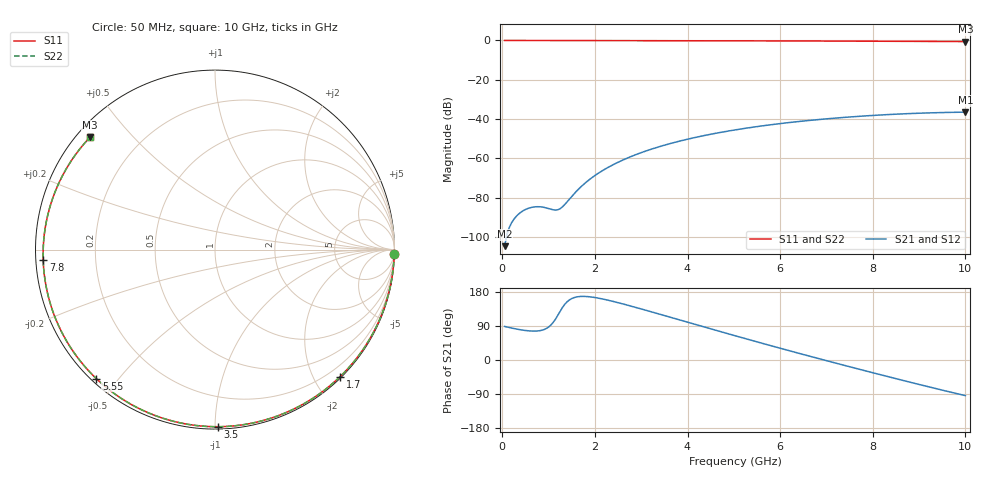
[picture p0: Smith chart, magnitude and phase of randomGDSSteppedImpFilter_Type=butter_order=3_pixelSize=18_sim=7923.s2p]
! freq	dB(S11)	phase(S11)	dB(S12)	phase(S12)
!  dB(S21)	phase(S21)	dB(S22)	phase(S22)
!S-par simulation data
#  GHz  S  DB  R 50
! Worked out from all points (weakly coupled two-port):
!   200 points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, 50 MHz to 10 GHz, reference 50 ohm
!   highest |S21| = -36.45 dB at 10 GHz (marker M1); lowest = -104.6 dB at 50 MHz (marker M2)
!   lowest |S11| = -0.6 dB at 10 GHz (marker M3), VSWR 30.53, Z = 1.88 + j19.1 ohm
!   |S11| at or under -10 dB: nowhere
!   |S22| runs from -0.6 to 0.0 dB; largest |S21 - S12| = 0
!   S11 on the Smith chart (normalised r, x): 50 MHz: 2, -87; 1.7 GHz: 0.02, -2.38; 3.5 GHz: 0.01, -1.02; 5.55 GHz: 0.01, -0.44; 7.8 GHz: 0.02, -0.03; 10 GHz: 0.04, +0.38
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0.05  -0.01 -1.3  -104.57 88.5  -104.57 88.5  -0.01 -1.3
0.4  -0.02 -10.9  -87.34 79.6  -87.34 79.6  -0.02 -10.9
0.75  -0.03 -20.4  -84.52 76.5  -84.52 76.5  -0.03 -20.4
1.45  -0.05 -39.0  -80.62 158.5  -80.62 158.5  -0.05 -39.0
1.5  -0.05 -40.3  -79.26 162.1  -79.26 162.1  -0.05 -40.3
1.7  -0.06 -45.5  -74.35 167.8  -74.35 167.8  -0.06 -45.5
1.75  -0.06 -46.8  -73.28 167.9  -73.28 167.9  -0.06 -46.8
2.05  -0.07 -54.4  -67.87 163.8  -67.87 163.8  -0.07 -54.4
2.45  -0.08 -64.4  -62.49 152.9  -62.49 152.9  -0.08 -64.4
2.9  -0.09 -75.2  -57.90 138.1  -57.90 138.1  -0.09 -75.2
3.4  -0.11 -86.8  -53.93 120.8  -53.93 120.8  -0.11 -86.9
3.5  -0.11 -89.1  -53.24 117.3  -53.24 117.3  -0.11 -89.1
4.25  -0.14 -105.7  -48.88 91.0  -48.88 91.0  -0.14 -105.7
5.05  -0.18 -122.5  -45.38 63.2  -45.38 63.2  -0.18 -122.5
5.55  -0.20 -132.6  -43.62 46.2  -43.62 46.2  -0.20 -132.6
6.15  -0.24 -144.5  -41.85 26.1  -41.85 26.1  -0.24 -144.5
6.7  -0.28 -155.2  -40.49 8.0  -40.49 8.0  -0.28 -155.3
7.25  -0.32 -165.9  -39.36 -9.8  -39.36 -9.8  -0.32 -166.0
7.8  -0.36 -176.7  -38.41 -27.3  -38.41 -27.3  -0.36 -176.7
8.35  -0.41 172.5  -37.65 -44.6  -37.65 -44.6  -0.41 172.4
9.15  -0.49 156.2  -36.87 -69.1  -36.87 -69.1  -0.49 156.2
10  -0.57 138.2  -36.45 -94.1  -36.45 -94.1  -0.57 138.1
